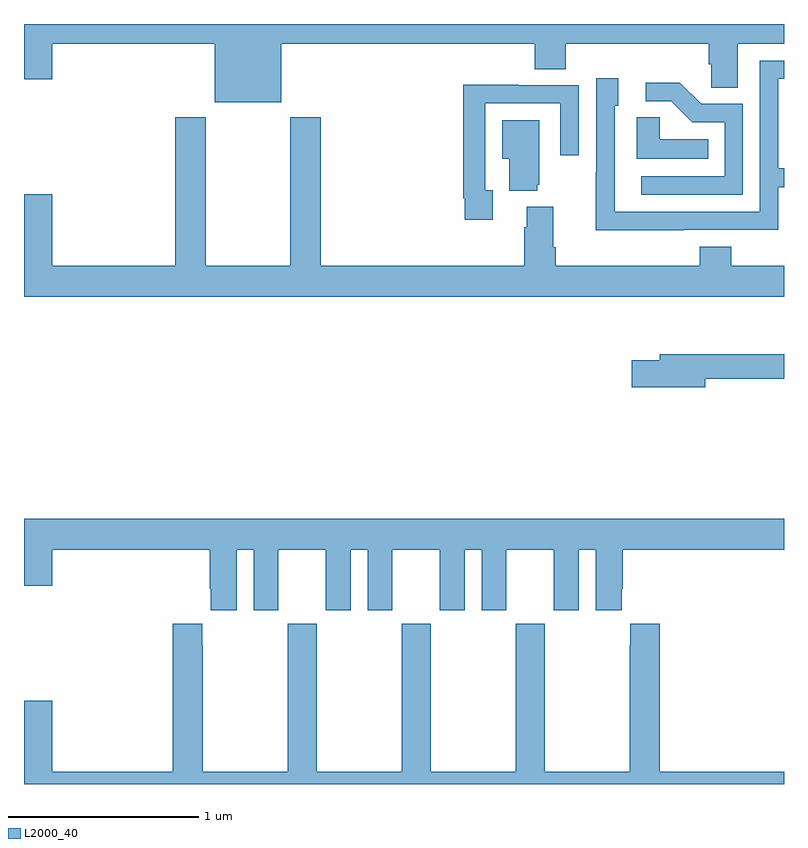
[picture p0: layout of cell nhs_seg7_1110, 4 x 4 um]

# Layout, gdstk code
import gdstk
lib = gdstk.Library(unit=1e-6, precision=1e-09)
def P(c, l, *ps):  # polygons
    for p in ps: c.add(gdstk.Polygon(p, *l))
L2000_40 = (2000, 40)

nhs_seg7_1110 = lib.new_cell('nhs_seg7_1110')
P(nhs_seg7_1110, L2000_40, [(190.354,1053.896),(191.687,1053.896),(191.687,1053.763),(191.852,1053.763),(191.852,1053.896),(192.605,1053.896),(192.605,1053.787),(192.618,1053.787),(192.618,1053.664),(192.757,1053.664),(192.757,1053.896),(193,1053.896),(193,1054),(189,1054),(189,1053.708),(189.148,1053.708),(189.148,1053.896),(190.004,1053.896),(190.004,1053.587),(190.354,1053.587)],
  [(192.473,1052.916),(192.969,1052.916),(192.969,1053.141),(193,1053.141),(193,1053.242),(192.969,1053.242),(192.969,1053.711),(193,1053.711),(193,1053.807),(192.873,1053.807),(192.873,1053.012),(192.108,1053.012),(192.108,1053.57),(192.127,1053.57),(192.127,1053.715),(192.012,1053.715),(192.012,1053.221),(192.01,1053.221),(192.01,1052.915),(192.473,1052.915)],
  [(192.783,1053.579),(192.564,1053.579),(192.451,1053.692),(192.273,1053.692),(192.273,1053.594),(192.407,1053.594),(192.518,1053.483),(192.687,1053.483),(192.687,1053.198),(192.249,1053.198),(192.249,1053.102),(192.783,1053.102)],
  [(191.467,1053.126),(191.427,1053.126),(191.427,1053.582),(191.823,1053.582),(191.823,1053.309),(191.919,1053.309),(191.919,1053.678),(191.603,1053.678),(191.603,1053.68),(191.311,1053.68),(191.311,1053.082),(191.319,1053.082),(191.319,1052.97),(191.467,1052.97)],
  [(192.602,1053.394),(192.345,1053.394),(192.345,1053.509),(192.224,1053.509),(192.224,1053.29),(192.602,1053.29)],
  [(193,1052.728),(192.722,1052.728),(192.722,1052.827),(192.557,1052.827),(192.557,1052.728),(191.798,1052.728),(191.798,1052.824),(191.785,1052.824),(191.785,1053.037),(191.645,1053.037),(191.645,1052.93),(191.633,1052.93),(191.633,1052.728),(190.562,1052.728),(190.562,1053.508),(190.402,1053.508),(190.402,1052.728),(189.957,1052.728),(189.957,1053.508),(189.797,1053.508),(189.797,1052.728),(189.148,1052.728),(189.148,1053.103),(189,1053.103),(189,1052.564),(193,1052.564)],
  [(191.702,1053.153),(191.713,1053.153),(191.713,1053.493),(191.516,1053.493),(191.516,1053.29),(191.555,1053.29),(191.555,1053.122),(191.702,1053.122)],
  [(192.586,1052.134),(193,1052.134),(193,1052.263),(192.347,1052.263),(192.347,1052.229),(192.198,1052.229),(192.198,1052.087),(192.586,1052.087)],
  [(190.12,1051.232),(190.208,1051.232),(190.208,1050.915),(190.339,1050.915),(190.339,1051.232),(190.589,1051.232),(190.589,1050.915),(190.72,1050.915),(190.72,1051.232),(190.808,1051.232),(190.808,1050.915),(190.939,1050.915),(190.939,1051.232),(191.189,1051.232),(191.189,1050.915),(191.32,1050.915),(191.32,1051.232),(191.408,1051.232),(191.408,1050.915),(191.539,1050.915),(191.539,1051.232),(191.789,1051.232),(191.789,1050.915),(191.92,1050.915),(191.92,1051.232),(192.008,1051.232),(192.008,1050.915),(192.145,1050.915),(192.145,1051.027),(192.152,1051.027),(192.152,1051.232),(193,1051.232),(193,1051.396),(189,1051.396),(189,1051.044),(189.148,1051.044),(189.148,1051.232),(189.977,1051.232),(189.977,1051.027),(189.983,1051.027),(189.983,1050.915),(190.12,1050.915)],
  [(193,1050.064),(192.347,1050.064),(192.347,1050.844),(192.191,1050.844),(192.191,1050.731),(192.187,1050.731),(192.187,1050.064),(191.742,1050.064),(191.742,1050.844),(191.587,1050.844),(191.587,1050.064),(191.142,1050.064),(191.142,1050.844),(190.987,1050.844),(190.987,1050.064),(190.542,1050.064),(190.542,1050.844),(190.387,1050.844),(190.387,1050.064),(189.942,1050.064),(189.942,1050.731),(189.937,1050.731),(189.937,1050.844),(189.782,1050.844),(189.782,1050.064),(189.148,1050.064),(189.148,1050.439),(189,1050.439),(189,1050),(193,1050)])

lib.write_gds('nhs_seg7_1110.gds')
